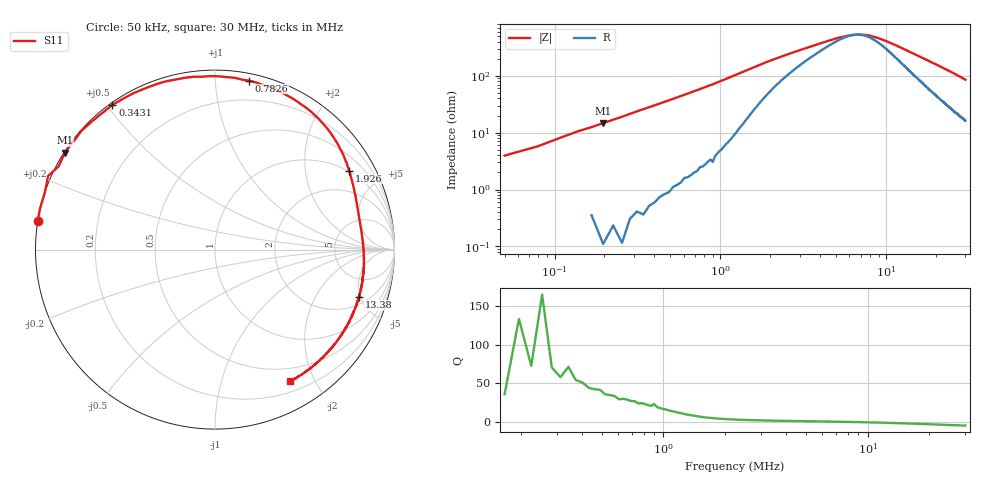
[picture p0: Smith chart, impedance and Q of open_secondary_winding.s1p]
# HZ S RI R 50
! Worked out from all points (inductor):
!   1023 points, 50 kHz to 30 MHz, reference 50 ohm
!   read as one part to ground: L = 11.9 uH near 196.5 kHz
!   highest Q = 41.4 at 196.5 kHz (marker M1), where L = 11.9 uH
!   self-resonance near 6.601 MHz
!   S11 on the Smith chart (normalised r, x): 50 kHz: -0.00, +0.08; 343.1 kHz: 0.01, +0.52; 782.6 kHz: 0.05, +1.22; 1.926 MHz: 0.96, +3.42; 13.38 MHz: 2.67, -4.85; 30 MHz: 0.33, -1.68
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50000  -0.9883 0.1573
137915  -0.9298 0.4102
196525  -0.8367 0.5402
284440  -0.684 0.7154
343050  -0.5717 0.8065
430965  -0.3962 0.8957
548185  -0.1724 0.9565
665405  0.0239 0.9652
782625  0.189 0.9411
899845  0.3205 0.9049
1017065  0.4346 0.8405
1134285  0.5222 0.7787
1251505  0.5889 0.7161
1398030  0.6493 0.6423
1544555  0.691 0.5753
1925520  0.7474 0.4405
2277180  0.7693 0.3566
2687450  0.7853 0.2853
3801040  0.8051 0.1661
5354205  0.8217 0.0638
7552080  0.829 -0.0426
1.130312e7  0.8188 -0.1898
1.338378e7  0.8014 -0.2625
1.502486e7  0.7838 -0.3173
1.87759e7  0.727 -0.4372
2.252694e7  0.6488 -0.5487
2.627798e7  0.5469 -0.6484
2.999971e7  0.4199 -0.734
